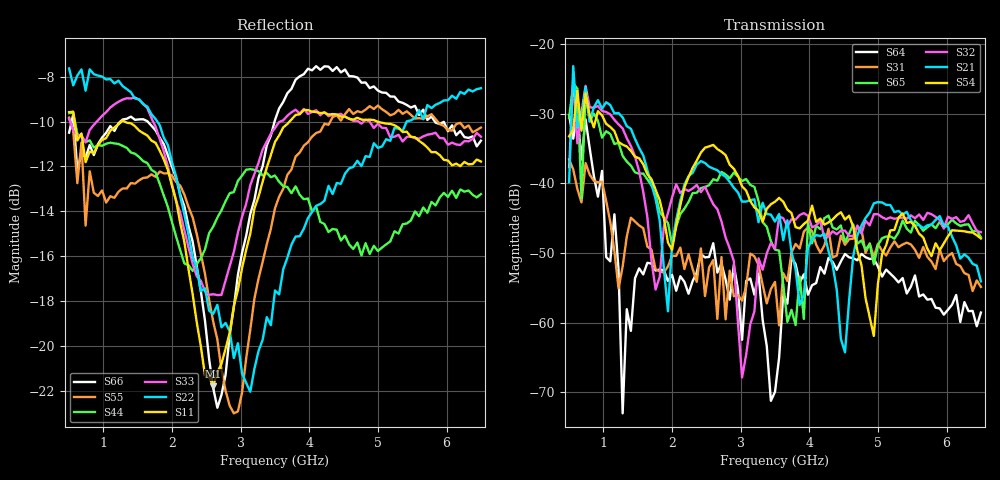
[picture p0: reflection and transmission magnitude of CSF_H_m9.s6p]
!Keysight Technologies,M9804A,MY58100912,A.14.10.03
!Date: Thursday, April 27, 2023 10:28:33
!Correction: S11(C  6-Port  )
!S12(C  6-Port  )
!S13(C  6-Port  )
!S14(C  6-Port  )
!S15(C  6-Port  )
!S16(C  6-Port  )
!S21(C  6-Port  )
!S22(C  6-Port  )
!S23(C  6-Port  )
!S24(C  6-Port  )
!S25(C  6-Port  )
!S26(C  6-Port  )
!S31(C  6-Port  )
!S32(C  6-Port  )
!S33(C  6-Port  )
!S34(C  6-Port  )
!S35(C  6-Port  )
!S36(C  6-Port  )
!S41(C  6-Port  )
!S42(C  6-Port  )
!S43(C  6-Port  )
!S44(C  6-Port  )
!S45(C  6-Port  )
!S46(C  6-Port  )
!S51(C  6-Port  )
!S52(C  6-Port  )
!S53(C  6-Port  )
!S54(C  6-Port  )
!S55(C  6-Port  )
!S56(C  6-Port  )
!S61(C  6-Port  )
!S62(C  6-Port  )
!S63(C  6-Port  )
!S64(C  6-Port  )
!S65(C  6-Port  )
!S66(C  6-Port  )
!S6P File: Measurement: :
# Hz S  RI  R 50
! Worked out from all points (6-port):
!   101 points, 500 MHz to 6.5 GHz, reference 50 ohm
!   strongest paths, dB at 500 MHz, 2 GHz, 3.5 GHz, 5 GHz, 6.5 GHz:
!     S54: -33.2, -49.5, -42.6, -54.4, -47.9
!     S21: -39.8, -48.7, -45.5, -42.7, -54.1
!     S32: -37.7, -42.0, -49.4, -44.4, -47.0
!     S65: -30.6, -48.7, -49.5, -48.9, -47.7
!     S31: -36.5, -50.4, -54.1, -48.7, -54.9
!     S64: -30.2, -53.1, -69.9, -51.9, -58.5
!   lowest |S11| = -21.8 dB at 2.6 GHz (marker M1), VSWR 1.18, Z = 42.7 + j1.9 ohm
!   |S11| at or under -10 dB: 580.6 MHz to 1.264 GHz (683.1 MHz wide, 74.1 % of centre); 1.308 GHz to 3.712 GHz (2.404 GHz wide, 95.8 % of centre); 4.989 GHz to end of sweep
